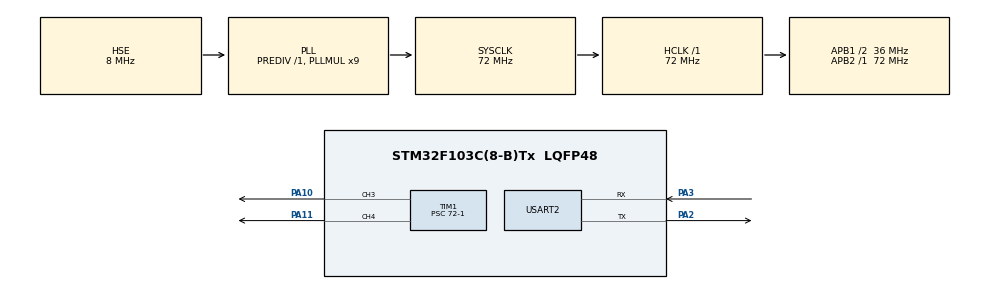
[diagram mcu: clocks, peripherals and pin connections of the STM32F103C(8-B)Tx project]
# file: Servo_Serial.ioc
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Dma.Request0=USART2_RX
Dma.Request1=USART2_TX
Dma.USART2_RX.0.Direction=DMA_PERIPH_TO_MEMORY
Dma.USART2_RX.0.Instance=DMA1_Channel6
Dma.USART2_RX.0.MemDataAlignment=DMA_MDATAALIGN_BYTE
Dma.USART2_RX.0.MemInc=DMA_MINC_ENABLE
Dma.USART2_RX.0.Mode=DMA_NORMAL
Dma.USART2_RX.0.PeriphDataAlignment=DMA_PDATAALIGN_BYTE
Dma.USART2_RX.0.PeriphInc=DMA_PINC_DISABLE
Dma.USART2_RX.0.Priority=DMA_PRIORITY_LOW
Dma.USART2_TX.1.Direction=DMA_MEMORY_TO_PERIPH
Dma.USART2_TX.1.Instance=DMA1_Channel7
Dma.USART2_TX.1.MemDataAlignment=DMA_MDATAALIGN_BYTE
Dma.USART2_TX.1.MemInc=DMA_MINC_ENABLE
Dma.USART2_TX.1.Mode=DMA_NORMAL
Dma.USART2_TX.1.PeriphDataAlignment=DMA_PDATAALIGN_BYTE
Dma.USART2_TX.1.PeriphInc=DMA_PINC_DISABLE
Dma.USART2_TX.1.Priority=DMA_PRIORITY_LOW
Mcu.Family=STM32F1
Mcu.Name=STM32F103C(8-B)Tx
Mcu.Package=LQFP48
NVIC.DMA1_Channel6_IRQn=true\:0\:0\:false\:false\:true\:false\:true\:true
NVIC.DMA1_Channel7_IRQn=true\:0\:0\:false\:false\:true\:false\:true\:true
NVIC.PriorityGroup=NVIC_PRIORITYGROUP_4
NVIC.USART2_IRQn=true\:14\:0\:true\:false\:true\:true\:true\:true
PA10.Signal=S_TIM1_CH3
PA11.Signal=S_TIM1_CH4
PA13.Mode=Serial_Wire
PA13.Signal=SYS_JTMS-SWDIO
PA14.Mode=Serial_Wire
PA14.Signal=SYS_JTCK-SWCLK
PA2.Mode=Asynchronous
PA2.Signal=USART2_TX
PA3.Mode=Asynchronous
PA3.Signal=USART2_RX
PD0-OSC_IN.Mode=HSE-External-Oscillator
PD0-OSC_IN.Signal=RCC_OSC_IN
PD1-OSC_OUT.Mode=HSE-External-Oscillator
PD1-OSC_OUT.Signal=RCC_OSC_OUT
ProjectManager.HeapSize=0x200
ProjectManager.StackSize=0x400
ProjectManager.TargetToolchain=STM32CubeIDE
RCC.AHBFreq_Value=72000000
RCC.APB1CLKDivider=RCC_HCLK_DIV2
RCC.APB1Freq_Value=36000000
RCC.APB1TimFreq_Value=72000000
RCC.APB2Freq_Value=72000000
RCC.APB2TimFreq_Value=72000000
RCC.HCLKFreq_Value=72000000
RCC.PLLMUL=RCC_PLL_MUL9
RCC.PLLSourceVirtual=RCC_PLLSOURCE_HSE
RCC.SYSCLKFreq_VALUE=72000000
RCC.SYSCLKSource=RCC_SYSCLKSOURCE_PLLCLK
RCC.USBFreq_Value=72000000
SH.S_TIM1_CH3.0=TIM1_CH3,PWM Generation3 CH3
SH.S_TIM1_CH4.0=TIM1_CH4,PWM Generation4 CH4
TIM1.Channel-PWM\ Generation3\ CH3=TIM_CHANNEL_3
TIM1.Channel-PWM\ Generation4\ CH4=TIM_CHANNEL_4
TIM1.OCPolarity_3=TIM_OCPOLARITY_HIGH
TIM1.OCPolarity_4=TIM_OCPOLARITY_HIGH
TIM1.Period=20000-1
TIM1.Prescaler=72-1
USART2.VirtualMode=VM_ASYNC
board=custom

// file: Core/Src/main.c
/* USER CODE BEGIN Header */
/**
  ******************************************************************************
  * @file           : main.c
  * @brief          : Main program body
  ******************************************************************************
  * @attention
  *
  * Copyright (c) 2026 STMicroelectronics.
  * All rights reserved.
  *
  * This software is licensed under terms that can be found in the LICENSE file
  * in the root directory of this software component.
  * If no LICENSE file comes with this software, it is provided AS-IS.
  *
  ******************************************************************************
  */
/* USER CODE END Header */
#include "main.h"

TIM_HandleTypeDef htim1;

UART_HandleTypeDef huart2;
DMA_HandleTypeDef hdma_usart2_rx;
DMA_HandleTypeDef hdma_usart2_tx;

/* USER CODE BEGIN PV */
 uint8_t Data[50];
 //用于接收串口数据的数组
 int16_t Sorve1_angle = 90;
 //初始化舵机1的角度为90
 int16_t Sorve2_angle = 90;
 //初始化舵机2的角度为90
/* USER CODE END PV */

void SystemClock_Config(void);
static void MX_GPIO_Init(void);
static void MX_DMA_Init(void);
static void MX_TIM1_Init(void);
static void MX_USART2_UART_Init(void);

/* USER CODE BEGIN 0 */

uint16_t angle_to_pwm(int16_t angle)
//角度通过计算PWM的函数
{
	int16_t pwm;
	if(angle>180)
	{
		pwm=2500;
	} else if (angle<0)
	{
		pwm=500;
	} else {
		pwm=(angle*2000/180)+500;
	}
	return pwm;
}

void HAL_UARTEx_RxEventCallback(UART_HandleTypeDef *huart, uint16_t Size)
//DMA的串口空闲中断，接收不定长数据
{
	if(huart==&huart2)
		//检测uart2
	{
		if(Data[0]==0xAA && Data[Size-1]==0xFF){
			//检测包头，包尾
				for(int i=1 ;i<Size-1 ; i=i+2 ){
					//对数组内数据进行读取，去掉包头包尾后信息结构如下：
					//01(哪个舵机)，1E(增/减多少角度)，02(哪个舵机)，3C(增/减多少角度)...
					//即正常格式为：AA 01 1E FF；AA 01 3C 02 C4 FF
					//减少的角度用补码表示
					uint8_t Sorve_id = Data[i];
					//综上，Data【i】为舵机号
					if (Sorve_id == 0x01){
						//如果是1号舵机
						Sorve1_angle+=(int8_t)Data[i+1];
						//增量移动
						__HAL_TIM_SET_COMPARE(&htim1,TIM_CHANNEL_3,angle_to_pwm(Sorve1_angle));

					} else if (Sorve_id == 0x02){
						//如果是2号舵机
						Sorve2_angle+=(int8_t)Data[i+1];
						//增量移动
						__HAL_TIM_SET_COMPARE(&htim1,TIM_CHANNEL_4,angle_to_pwm(Sorve2_angle));

					}

				}
			}
		}
	HAL_UART_Transmit_DMA(&huart2, Data, Size);
	//返回输入值，最初用于我检测代码，无实际意义
	HAL_UARTEx_ReceiveToIdle_DMA(&huart2, Data, sizeof(Data));
	//准备输入，再次开启中断
}
/* USER CODE END 0 */

int main(void)
{

  /* MCU Configuration--------------------------------------------------------*/

  /* Reset of all peripherals, Initializes the Flash interface and the Systick. */
  HAL_Init();

  /* Configure the system clock */
  SystemClock_Config();

  /* Initialize all configured peripherals */
  MX_GPIO_Init();
  MX_DMA_Init();
  MX_TIM1_Init();
  MX_USART2_UART_Init();
  /* USER CODE BEGIN 2 */
  HAL_TIM_PWM_Start(&htim1, TIM_CHANNEL_3);
  HAL_TIM_PWM_Start(&htim1, TIM_CHANNEL_4);
  //开启TIM
  __HAL_TIM_SET_COMPARE(&htim1,TIM_CHANNEL_3,angle_to_pwm(Sorve1_angle));
  __HAL_TIM_SET_COMPARE(&htim1,TIM_CHANNEL_4,angle_to_pwm(Sorve2_angle));
  //初始化调整角度为90
  HAL_UARTEx_ReceiveToIdle_DMA(&huart2, Data, sizeof(Data));
  //第一次接收数据，准备开启中断

  /* USER CODE END 2 */

  /* Infinite loop */
  while (1)
  {

  }
}

void SystemClock_Config(void)
{
  RCC_OscInitTypeDef RCC_OscInitStruct = {0};
  RCC_ClkInitTypeDef RCC_ClkInitStruct = {0};

  /** Initializes the RCC Oscillators according to the specified parameters
  * in the RCC_OscInitTypeDef structure.
  */
  RCC_OscInitStruct.OscillatorType = RCC_OSCILLATORTYPE_HSE;
  RCC_OscInitStruct.HSEState = RCC_HSE_ON;
  RCC_OscInitStruct.HSEPredivValue = RCC_HSE_PREDIV_DIV1;
  RCC_OscInitStruct.HSIState = RCC_HSI_ON;
  RCC_OscInitStruct.PLL.PLLState = RCC_PLL_ON;
  RCC_OscInitStruct.PLL.PLLSource = RCC_PLLSOURCE_HSE;
  RCC_OscInitStruct.PLL.PLLMUL = RCC_PLL_MUL9;
  if (HAL_RCC_OscConfig(&RCC_OscInitStruct) != HAL_OK)
  {
    Error_Handler();
  }

  /** Initializes the CPU, AHB and APB buses clocks
  */
  RCC_ClkInitStruct.ClockType = RCC_CLOCKTYPE_HCLK|RCC_CLOCKTYPE_SYSCLK
                              |RCC_CLOCKTYPE_PCLK1|RCC_CLOCKTYPE_PCLK2;
  RCC_ClkInitStruct.SYSCLKSource = RCC_SYSCLKSOURCE_PLLCLK;
  RCC_ClkInitStruct.AHBCLKDivider = RCC_SYSCLK_DIV1;
  RCC_ClkInitStruct.APB1CLKDivider = RCC_HCLK_DIV2;
  RCC_ClkInitStruct.APB2CLKDivider = RCC_HCLK_DIV1;

  if (HAL_RCC_ClockConfig(&RCC_ClkInitStruct, FLASH_LATENCY_2) != HAL_OK)
  {
    Error_Handler();
  }
}

static void MX_TIM1_Init(void)
{

  TIM_MasterConfigTypeDef sMasterConfig = {0};
  TIM_OC_InitTypeDef sConfigOC = {0};
  TIM_BreakDeadTimeConfigTypeDef sBreakDeadTimeConfig = {0};

  htim1.Instance = TIM1;
  htim1.Init.Prescaler = 72-1;
  htim1.Init.CounterMode = TIM_COUNTERMODE_UP;
  htim1.Init.Period = 20000-1;
  htim1.Init.ClockDivision = TIM_CLOCKDIVISION_DIV1;
  htim1.Init.RepetitionCounter = 0;
  htim1.Init.AutoReloadPreload = TIM_AUTORELOAD_PRELOAD_DISABLE;
  if (HAL_TIM_PWM_Init(&htim1) != HAL_OK)
  {
    Error_Handler();
  }
  sMasterConfig.MasterOutputTrigger = TIM_TRGO_RESET;
  sMasterConfig.MasterSlaveMode = TIM_MASTERSLAVEMODE_DISABLE;
  if (HAL_TIMEx_MasterConfigSynchronization(&htim1, &sMasterConfig) != HAL_OK)
  {
    Error_Handler();
  }
  sConfigOC.OCMode = TIM_OCMODE_PWM1;
  sConfigOC.Pulse = 0;
  sConfigOC.OCPolarity = TIM_OCPOLARITY_HIGH;
  sConfigOC.OCNPolarity = TIM_OCNPOLARITY_HIGH;
  sConfigOC.OCFastMode = TIM_OCFAST_DISABLE;
  sConfigOC.OCIdleState = TIM_OCIDLESTATE_RESET;
  sConfigOC.OCNIdleState = TIM_OCNIDLESTATE_RESET;
  if (HAL_TIM_PWM_ConfigChannel(&htim1, &sConfigOC, TIM_CHANNEL_3) != HAL_OK)
  {
    Error_Handler();
  }
  if (HAL_TIM_PWM_ConfigChannel(&htim1, &sConfigOC, TIM_CHANNEL_4) != HAL_OK)
  {
    Error_Handler();
  }
  sBreakDeadTimeConfig.OffStateRunMode = TIM_OSSR_DISABLE;
  sBreakDeadTimeConfig.OffStateIDLEMode = TIM_OSSI_DISABLE;
  sBreakDeadTimeConfig.LockLevel = TIM_LOCKLEVEL_OFF;
  sBreakDeadTimeConfig.DeadTime = 0;
  sBreakDeadTimeConfig.BreakState = TIM_BREAK_DISABLE;
  sBreakDeadTimeConfig.BreakPolarity = TIM_BREAKPOLARITY_HIGH;
  sBreakDeadTimeConfig.AutomaticOutput = TIM_AUTOMATICOUTPUT_DISABLE;
  if (HAL_TIMEx_ConfigBreakDeadTime(&htim1, &sBreakDeadTimeConfig) != HAL_OK)
  {
    Error_Handler();
  }
  HAL_TIM_MspPostInit(&htim1);

}

static void MX_USART2_UART_Init(void)
{

  huart2.Instance = USART2;
  huart2.Init.BaudRate = 115200;
  huart2.Init.WordLength = UART_WORDLENGTH_8B;
  huart2.Init.StopBits = UART_STOPBITS_1;
  huart2.Init.Parity = UART_PARITY_NONE;
  huart2.Init.Mode = UART_MODE_TX_RX;
  huart2.Init.HwFlowCtl = UART_HWCONTROL_NONE;
  huart2.Init.OverSampling = UART_OVERSAMPLING_16;
  if (HAL_UART_Init(&huart2) != HAL_OK)
  {
    Error_Handler();
  }

}

static void MX_DMA_Init(void)
{

  /* DMA controller clock enable */
  __HAL_RCC_DMA1_CLK_ENABLE();

  /* DMA interrupt init */
  /* DMA1_Channel6_IRQn interrupt configuration */
  HAL_NVIC_SetPriority(DMA1_Channel6_IRQn, 0, 0);
  HAL_NVIC_EnableIRQ(DMA1_Channel6_IRQn);
  /* DMA1_Channel7_IRQn interrupt configuration */
  HAL_NVIC_SetPriority(DMA1_Channel7_IRQn, 0, 0);
  HAL_NVIC_EnableIRQ(DMA1_Channel7_IRQn);

}

static void MX_GPIO_Init(void)
{

  /* GPIO Ports Clock Enable */
  __HAL_RCC_GPIOD_CLK_ENABLE();
  __HAL_RCC_GPIOA_CLK_ENABLE();

}

void Error_Handler(void)
{
  __disable_irq();
  while (1)
  {
  }
}
